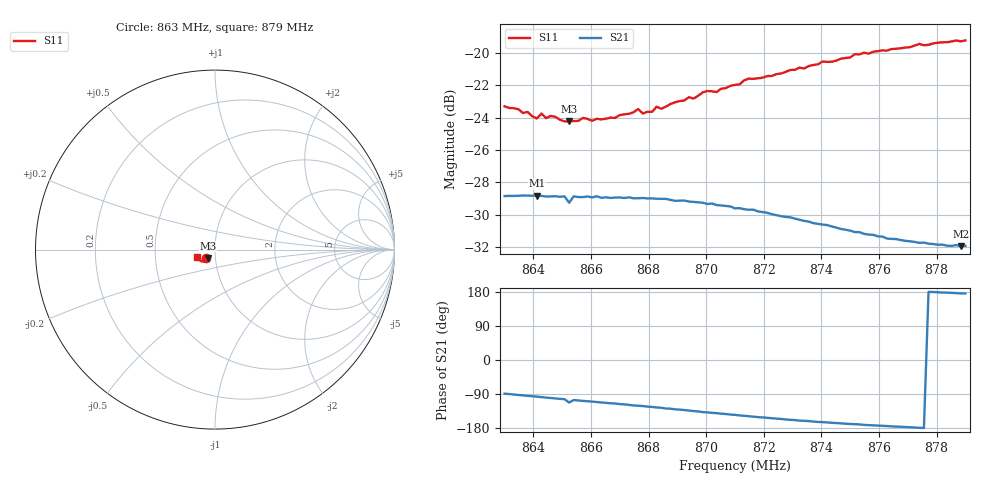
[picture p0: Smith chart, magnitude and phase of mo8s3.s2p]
# HZ S RI R 50
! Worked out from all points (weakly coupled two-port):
!   101 points, 863 MHz to 879 MHz, reference 50 ohm
!   highest |S21| = -28.80 dB at 864.12 MHz (marker M1); lowest = -31.9 dB at 878.84 MHz (marker M2)
!   lowest |S11| = -24.2 dB at 865.24 MHz (marker M3), VSWR 1.13, Z = 46 - j4.34 ohm
!   |S11| at or under -10 dB: start of sweep to end of sweep
!   S12 and S22 are empty: the file has one direction only
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8.63e8  -0.0483 -0.0485  0.000734 -0.0361  0 0  0 0
8.638e8  -0.0456 -0.0473  -0.00286 -0.0362  0 0  0 0
8.6412e8  -0.0426 -0.046  -0.00423 -0.036  0 0  0 0
8.6428e8  -0.0425 -0.0491  -0.00501 -0.0359  0 0  0 0
8.6444e8  -0.0415 -0.0473  -0.0058 -0.0356  0 0  0 0
8.646e8  -0.0414 -0.0486  -0.00638 -0.0355  0 0  0 0
8.6508e8  -0.038 -0.0483  -0.00837 -0.0351  0 0  0 0
8.6524e8  -0.0395 -0.047  -0.013 -0.0319  0 0  0 0
8.654e8  -0.038 -0.0485  -0.00974 -0.0347  0 0  0 0
8.6572e8  -0.0374 -0.0507  -0.0111 -0.0341  0 0  0 0
8.6604e8  -0.0363 -0.0499  -0.0121 -0.0337  0 0  0 0
8.6684e8  -0.0367 -0.0513  -0.015 -0.0325  0 0  0 0
8.6764e8  -0.0365 -0.0563  -0.0182 -0.0306  0 0  0 0
8.678e8  -0.0352 -0.0547  -0.0187 -0.0304  0 0  0 0
8.6828e8  -0.0357 -0.0581  -0.0205 -0.029  0 0  0 0
8.6844e8  -0.0357 -0.057  -0.0209 -0.0287  0 0  0 0
8.6988e8  -0.0409 -0.0634  -0.0254 -0.0233  0 0  0 0
8.71e8  -0.0461 -0.0649  -0.027 -0.0191  0 0  0 0
8.7372e8  -0.0625 -0.0672  -0.0284 -0.00899  0 0  0 0
8.7644e8  -0.0846 -0.0583  -0.0266 -0.00226  0 0  0 0
8.7884e8  -0.1009 -0.0399  -0.0253 0.0019  0 0  0 0
8.79e8  -0.1021 -0.0388  -0.0253 0.00196  0 0  0 0
